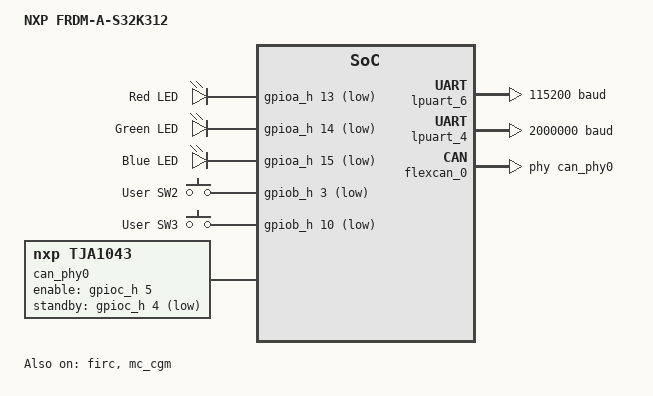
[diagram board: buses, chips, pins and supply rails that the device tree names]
/*
 * NXP FRDM-A-S32K312 (formerly S32K312MINI-EVB).
 * SPDX-License-Identifier: Apache-2.0
 */

/dts-v1/;

#include "nxp_s32k312.dtsi"
#include "frdm_a_s32k312-pinctrl.dtsi"
#include <zephyr/dt-bindings/gpio/gpio.h>
#include <zephyr/dt-bindings/input/input-event-codes.h>

/ {
	model = "NXP FRDM-A-S32K312";
	compatible = "nxp,frdm-a-s32k312";

	aliases {
		led0 = &red_led;
		led1 = &green_led;
		led2 = &blue_led;
		sw0 = &user_sw2;
		sw1 = &user_sw3;
		be-link = &lpuart_4;
	};

	chosen {
		zephyr,sram = &sram;
		zephyr,itcm = &itcm;
		zephyr,dtcm = &dtcm;
		zephyr,flash = &flash0;
		zephyr,code-partition = &code_partition;
		zephyr,console = &lpuart_6;
		zephyr,shell-uart = &lpuart_6;
		zephyr,canbus = &flexcan_0;
	};

	/* RGB LED D3, active low: PTA29 red, PTA30 green, PTA31 blue */
	leds {
		compatible = "gpio-leds";

		red_led: led_0 {
			gpios = <&gpioa_h 13 GPIO_ACTIVE_LOW>;
			label = "Red LED";
		};

		green_led: led_1 {
			gpios = <&gpioa_h 14 GPIO_ACTIVE_LOW>;
			label = "Green LED";
		};

		blue_led: led_2 {
			gpios = <&gpioa_h 15 GPIO_ACTIVE_LOW>;
			label = "Blue LED";
		};
	};

	/* SW2 PTB19, SW3 PTB26, pulled up, active low */
	gpio_keys {
		compatible = "gpio-keys";

		user_sw2: button_0 {
			label = "User SW2";
			gpios = <&gpiob_h 3 GPIO_ACTIVE_LOW>;
			zephyr,code = <INPUT_KEY_0>;
		};

		user_sw3: button_1 {
			label = "User SW3";
			gpios = <&gpiob_h 10 GPIO_ACTIVE_LOW>;
			zephyr,code = <INPUT_KEY_1>;
		};
	};

	/* TJA1043 on CAN0: EN = PTC21 (high = on), STB_N = PTC20 (low = standby), ERR_N = PTC23 */
	can_phy0: can-phy0 {
		compatible = "nxp,tja1043", "can-transceiver-gpio";
		enable-gpios = <&gpioc_h 5 GPIO_ACTIVE_HIGH>;
		standby-gpios = <&gpioc_h 4 GPIO_ACTIVE_LOW>;
		max-bitrate = <5000000>;
		#phy-cells = <0>;
	};
};

&flash0 {
	partitions {
		ranges;
		#address-cells = <1>;
		#size-cells = <1>;

		ivt_header: partition@0 {
			compatible = "zephyr,mapped-partition";
			label = "ivt-header";
			reg = <0x00000000 0x100>;
		};

		code_partition: partition@100 {
			compatible = "zephyr,mapped-partition";
			label = "code-partition";
			reg = <0x00000100 (DT_SIZE_K(2000) - 0x100)>;
		};
	};
};

/* S32K312 is rated for 120 MHz */
&core0 {
	clock-frequency = <DT_FREQ_M(120)>;
};

&gpioa_h {
	status = "okay";
};

&gpiob_h {
	status = "okay";
};

&gpioc_h {
	status = "okay";
};

&lpuart_6 {
	status = "okay";
	current-speed = <115200>;
	pinctrl-0 = <&pinmux_lpuart_6>;
	pinctrl-names = "default";
};

&lpuart_4 {
	status = "okay";
	current-speed = <2000000>;
	pinctrl-0 = <&pinmux_lpuart_4>;
	pinctrl-names = "default";
};

&flexcan_0 {
	pinctrl-0 = <&pinmux_flexcan_0>;
	pinctrl-names = "default";
	phys = <&can_phy0>;
	status = "okay";
};

&flexcan_1 {
	pinctrl-0 = <&pinmux_flexcan_1>;
	pinctrl-names = "default";
};

&flexcan_4 {
	pinctrl-0 = <&pinmux_flexcan_4>;
	pinctrl-names = "default";
};

/*
 * Clocks: FXOSC 16 MHz crystal (assumed, as on S32K312EVB-Q172) -> PLL VCO 960 MHz ->
 * PHI0 120 MHz. CORE 120, AIPS_PLAT 60 (FlexCAN0-2), AIPS_SLOW 30, HSE 60, DCM 30.
 */
&firc {
	status = "okay";
	firc-div = "UnDiv";
};

&fxosc {
	status = "okay";
	freq = <16000000>;
	workmode = "crystal";
	delay = <49>;
	overdrive = <12>;
};

&pll {
	status = "okay";
	workmode = "Integer";
	prediv = <2>;
	postdiv = <2>;
	multiplier = <120>;
	fracloopdiv = <0>;
	stepsize = <0>;
	stepnum = <0>;
	accuracy = "Accuracy9";
	outdiv = <4 4>;
};

&mc_cgm {
	status = "okay";
	max-ido-change = <50>;
	step-duration = <1>;
	clk-src-freq = <120000000>;
	mux-0-dc-0-div = <1>;
	mux-0-dc-1-div = <2>;
	mux-0-dc-2-div = <4>;
	mux-0-dc-3-div = <2>;
	mux-0-dc-4-div = <4>;
	mux-0-dc-5-div = <4>;
	mux-0-dc-6-div = <1>;
	mux-1-dc-0-div = <1>;
	mux-2-dc-0-div = <1>;
	mux-10-dc-0-div = <4>;
};
